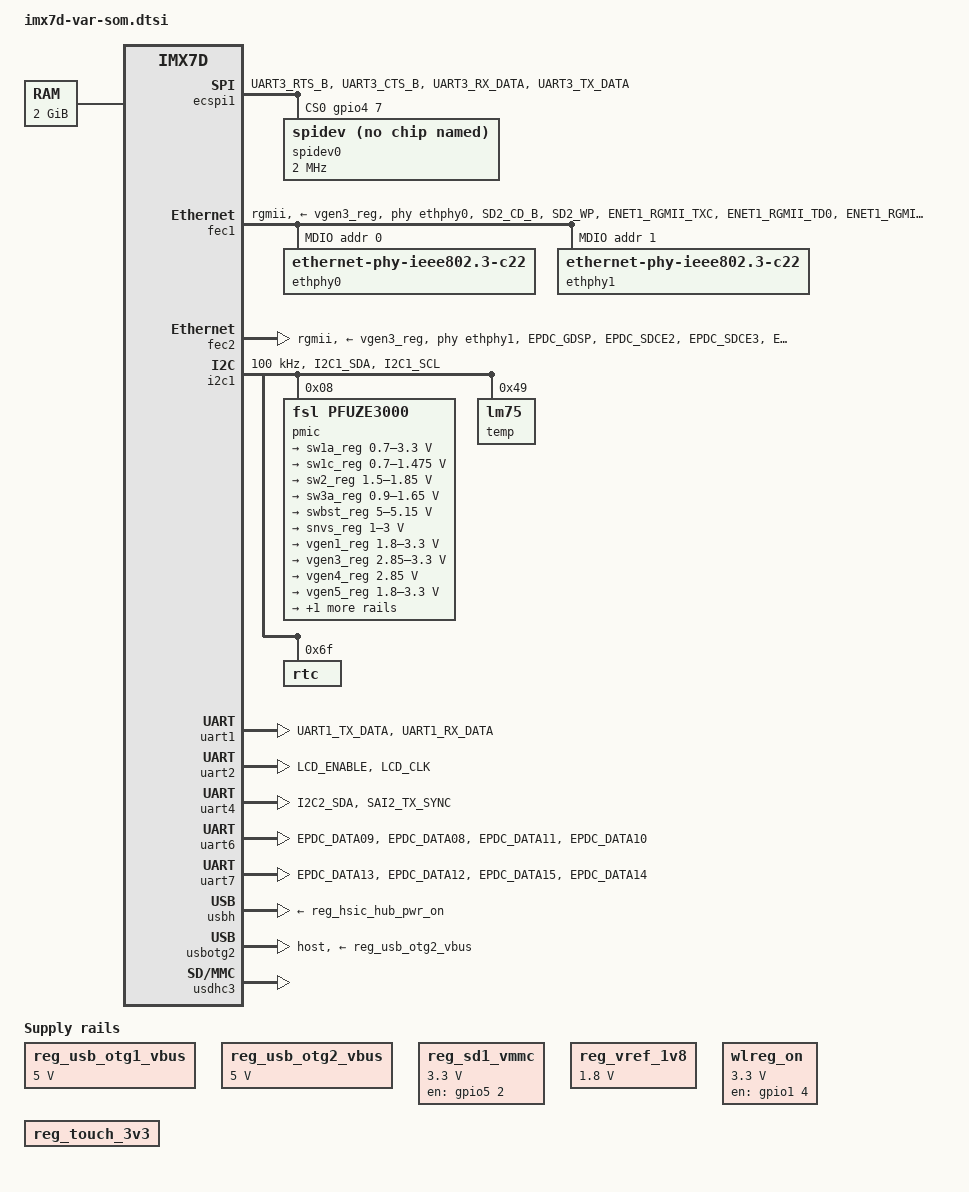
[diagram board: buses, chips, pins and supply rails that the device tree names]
// SPDX-License-Identifier: GPL-2.0+ OR MIT
//
// Copyright (C) 2016-2022 Variscite Ltd.

#include <dt-bindings/input/input.h>
#include "imx7d.dtsi"

/ {
	memory {
		reg = <0x80000000 0x80000000>;
	};

	backlight {
		compatible = "pwm-backlight";
		pwms = <&pwm2 0 5000000>;
		brightness-levels = <0 4 8 16 32 64 128 255>;
		default-brightness-level = <7>;
		status = "disabled";
	};

	pxp_v4l2_out {
		compatible = "fsl,imx7d-pxp-v4l2", "fsl,imx6sx-pxp-v4l2", "fsl,imx6sl-pxp-v4l2";
		status = "okay";
	};

	sound {
		status = "disabled";
	};

	gpio-keys {

		status = "disabled";
	};

	regulators {
		compatible = "simple-bus";
		#address-cells = <1>;
		#size-cells = <0>;

		reg_usb_otg1_vbus: regulator@0 {
			compatible = "regulator-fixed";
			reg = <0>;
			regulator-name = "usb_otg1_vbus";
			regulator-min-microvolt = <5000000>;
			regulator-max-microvolt = <5000000>;
			enable-active-high;
		};

		reg_usb_otg2_vbus: regulator@1 {
			compatible = "regulator-fixed";
			reg = <1>;
			regulator-name = "usb_otg2_vbus";
			regulator-min-microvolt = <5000000>;
			regulator-max-microvolt = <5000000>;
			enable-active-high;
			regulator-always-on;			
		};

		reg_sd1_vmmc: regulator@3 {
			compatible = "regulator-fixed";
			regulator-name = "VDD_SD1";
			regulator-min-microvolt = <3300000>;
			regulator-max-microvolt = <3300000>;
			gpio = <&gpio5 2 GPIO_ACTIVE_HIGH>;
			startup-delay-us = <200000>;
			enable-active-high;
		};

		reg_vref_1v8: regulator@5 {
			compatible = "regulator-fixed";
			reg = <5>;
			regulator-name = "vref-1v8";
			regulator-min-microvolt = <1800000>;
			regulator-max-microvolt = <1800000>;
		};

		wlreg_on: fixedregulator@100 {
			compatible = "regulator-fixed";
			regulator-min-microvolt = <3300000>;
			regulator-max-microvolt = <3300000>;
			regulator-name = "wlreg_on";
			gpio = <&gpio1 4 GPIO_ACTIVE_HIGH>;	/* WL_REG_ON: PAD_GPIO1_IO04__GPIO1_IO4*/
			startup-delay-us = <100>;
			enable-active-high;
		};

		reg_touch_3v3: reg_touch_3v3 {
			compatible = "regulator-fixed";
			regulator-name = "touch_3v3_supply";
			regulator-always-on;
			status = "okay";
		};

		reg_hsic_hub_pwr_on: reg_hsic_hub_pwr_on {
			status = "okay";
		};

		reg_hsic_hub_connect: reg_hsic_hub_connect {
			status = "disabled";
		};
	};
};

&adc1 {
	vref-supply = <&reg_vref_1v8>;
	status = "disabled";
};

&adc2 {
	vref-supply = <&reg_vref_1v8>;
	status = "disabled";
};

&cpu0 {
	arm-supply = <&sw1a_reg>;
};

&clks {
	assigned-clocks = <&clks IMX7D_PLL_AUDIO_POST_DIV>;
	assigned-clock-rates = <884736000>;
};

&csi1 {
	csi-mux-mipi = <&gpr 0x14 4>;
	status = "disabled";
};

&epxp {
	status = "disabled";
};

&ecspi1 {
	fsl,spi-num-chipselects = <1>;
	pinctrl-names = "default";
	pinctrl-0 = <&pinctrl_ecspi1>;
	cs-gpios = <&gpio4 7 0>;
	status = "okay";

	spidev0: spi@0 {
		compatible = "spidev";
		reg = <0>;
		spi-max-frequency = <2000000>;
	};
};

&fec1 {
	pinctrl-names = "default";
	pinctrl-0 = <&pinctrl_enet1>;
	phy-supply=<&vgen3_reg>;
	assigned-clocks = <&clks IMX7D_ENET1_TIME_ROOT_SRC>,
			  <&clks IMX7D_ENET1_TIME_ROOT_CLK>;
	assigned-clock-parents = <&clks IMX7D_PLL_ENET_MAIN_100M_CLK>;
	assigned-clock-rates = <0>, <100000000>;
	phy-mode = "rgmii";
	phy-handle = <&ethphy0>;
	fsl,magic-packet;
	status = "okay";

	mdio {
		#address-cells = <1>;
		#size-cells = <0>;

		ethphy0: ethernet-phy@0 {
			compatible = "ethernet-phy-ieee802.3-c22";
			reg = <0>;
		};

		ethphy1: ethernet-phy@1 {
			compatible = "ethernet-phy-ieee802.3-c22";
			reg = <1>;
		};
	};
};

&fec2 {
	pinctrl-names = "default";
	pinctrl-0 = <&pinctrl_enet2>;
	phy-supply=<&vgen3_reg>;
	assigned-clocks = <&clks IMX7D_ENET2_TIME_ROOT_SRC>,
			  <&clks IMX7D_ENET2_TIME_ROOT_CLK>;
	assigned-clock-parents = <&clks IMX7D_PLL_ENET_MAIN_100M_CLK>;
	assigned-clock-rates = <0>, <100000000>;
	phy-mode = "rgmii";
	phy-handle = <&ethphy1>;
	phy-reset-gpios = <&gpio4 3 GPIO_ACTIVE_LOW>;
	fsl,magic-packet;
	status = "okay";
};

&mipi_csi {

	status = "disabled";

};

&flexcan2 {

	status = "disabled";
};

&i2c1 {
	clock-frequency = <100000>;
	pinctrl-names = "default";
	pinctrl-0 = <&pinctrl_i2c1>;
	status = "okay";

	pmic: pfuze3000@08 {
		compatible = "fsl,pfuze3000";
		reg = <0x08>;

		regulators {
			sw1a_reg: sw1a {
				regulator-min-microvolt = <700000>;
				regulator-max-microvolt = <3300000>;
				regulator-boot-on;
				regulator-always-on;
				regulator-ramp-delay = <6250>;
			};

			/* use sw1c_reg to align with pfuze100/pfuze200 */
			sw1c_reg: sw1b {
				regulator-min-microvolt = <700000>;
				regulator-max-microvolt = <1475000>;
				regulator-boot-on;
				regulator-always-on;
				regulator-ramp-delay = <6250>;
			};

			sw2_reg: sw2 {
				regulator-min-microvolt = <1500000>;
				regulator-max-microvolt = <1850000>;
				regulator-boot-on;
				regulator-always-on;
			};

			sw3a_reg: sw3 {
				regulator-min-microvolt = <900000>;
				regulator-max-microvolt = <1650000>;
				regulator-boot-on;
				regulator-always-on;
			};

			swbst_reg: swbst {
				regulator-min-microvolt = <5000000>;
				regulator-max-microvolt = <5150000>;
			};

			snvs_reg: vsnvs {
				regulator-min-microvolt = <1000000>;
				regulator-max-microvolt = <3000000>;
				regulator-boot-on;
				regulator-always-on;
			};

			vref_reg: vrefddr {
				regulator-boot-on;
				regulator-always-on;
			};

			vgen1_reg: vldo1 {
				regulator-min-microvolt = <1800000>;
				regulator-max-microvolt = <3300000>;
				regulator-always-on;
			};

			vgen2_reg: vldo2 {
				status = "disabled";
			};

			vgen3_reg: vccsd {
				regulator-min-microvolt = <2850000>;
				regulator-max-microvolt = <3300000>;
				regulator-boot-on;

				regulator-state-mem {
					regulator-off-in-suspend;
				};
			};

			vgen4_reg: v33 {
				regulator-min-microvolt = <2850000>;
				regulator-max-microvolt = <2850000>;
				regulator-always-on;
			};

			vgen5_reg: vldo3 {
				regulator-min-microvolt = <1800000>;
				regulator-max-microvolt = <3300000>;
				regulator-always-on;
			};

			vgen6_reg: vldo4 {
				regulator-min-microvolt = <1800000>;
				regulator-max-microvolt = <3300000>;
				regulator-always-on;
			};
		};
	};

 	
	temp@49 {
        compatible = "lm75";
        reg = <0x49>;
        status = "okay";
    };
    
        rtc@6f {
        reg = <0x6f>;
        status = "okay";
    };
 /*  
    rtc@6f {
        compatible = "maxim,ds1338";
        reg = <0x6f>;
        status = "okay";
    };
*/


	/* DS1307 RTC module */
/*	rtc@0x6f {
		compatible = "dallas,ds1307";
		reg = <0x6f>;
	};
*/
};

&i2c2 {
	status = "disabled";

};

&i2c4 {

	status = "disabled";

};

&gpmi {
	status = "disabled";
};

&iomuxc {
	pinctrl-names = "default";
	pinctrl-0 = <&pinctrl_hog_1>;

	imx7d-sdb {
		pinctrl_hog_1: hoggrp-1 {
			fsl,pins = <
				MX7D_PAD_GPIO1_IO14__GPIO1_IO14		0x80000000  /* bt reg on */
				MX7D_PAD_SD2_RESET_B__GPIO5_IO11	0x59  /* ethphy0 reset */
				MX7D_PAD_UART2_TX_DATA__GPIO4_IO3	0x59  /* ethphy1 reset */
				MX7D_PAD_GPIO1_IO10__GPIO1_IO10		0x79  /* Dip 1 - input - MicroPAQ 940P */
				MX7D_PAD_GPIO1_IO11__GPIO1_IO11		0x79  /* Dip 2 - input - MicroPAQ 940P */				
				MX7D_PAD_GPIO1_IO12__GPIO1_IO12		0x79  /* Dip 3 - input - MicroPAQ 940P */	
				MX7D_PAD_GPIO1_IO13__GPIO1_IO13     0x59  /* WDOG  - output - MicroPAQ 940P */	
				MX7D_PAD_LCD_DATA20__GPIO3_IO25		0x59  /* STATUS 1 - input - MicroPAQ 940P */		
				MX7D_PAD_LCD_DATA21__GPIO3_IO26		0x59  /* STATUS 2 - input - MicroPAQ 940P */
				MX7D_PAD_LCD_DATA22__GPIO3_IO27		0x59  /* STATUS 3 - input - MicroPAQ 940P */
				MX7D_PAD_LCD_DATA23__GPIO3_IO28		0x59  /* STATUS 4 - input - MicroPAQ 940P */
				MX7D_PAD_I2C2_SCL__GPIO4_IO10		0x59  /* STATUS 5 - input - MicroPAQ 940P */
				MX7D_PAD_I2C3_SDA__GPIO4_IO13		0x59  /* STATUS 6 - input - MicroPAQ 940P */
				MX7D_PAD_I2C4_SDA__GPIO4_IO15		0x59  /* STATUS 7 - input - MicroPAQ 940P */
				MX7D_PAD_SAI1_RX_BCLK__GPIO6_IO17	0x59  /* STATUS 8 - input - MicroPAQ 940P */
				MX7D_PAD_EPDC_DATA00__GPIO2_IO0     0x59  /* 24V SENSE RELAY - Input - MicroPAQ 940P */
				MX7D_PAD_EPDC_DATA01__GPIO2_IO1     0x59  /* LOCAL/REMOTE - Input - MicroPAQ 940P */
				MX7D_PAD_EPDC_BDR0__GPIO2_IO28      0x59  /* RELAY SENSE1 - Input - MicroPAQ 940P */
				MX7D_PAD_EPDC_BDR1__GPIO2_IO29      0x59  /* RELAY SENSE2 - Input - MicroPAQ 940P */
				MX7D_PAD_EPDC_PWR_COM__GPIO2_IO30   0x59  /* RELAY SENSE3 - Input - MicroPAQ 940P */
				MX7D_PAD_EPDC_PWR_STAT__GPIO2_IO31  0x59  /* RELAY SENSE4 - Input - MicroPAQ 940P */
				MX7D_PAD_EPDC_DATA04__GPIO2_IO4     0x09  /* RELAY1 - Output - MicroPAQ 940P */
				MX7D_PAD_EPDC_DATA05__GPIO2_IO5     0x09  /* RELAY2 - Output - MicroPAQ 940P */
				MX7D_PAD_EPDC_DATA06__GPIO2_IO6     0x09  /* RELAY3 - Output - MicroPAQ 940P */
				MX7D_PAD_EPDC_DATA07__GPIO2_IO7     0x09  /* RELAY4 - Output - MicroPAQ 940P */
				MX7D_PAD_SD1_WP__GPIO5_IO1          0x59  /* RELAY_PWR - Output - MicroPAQ 940P */
				MX7D_PAD_SAI1_RX_SYNC__GPIO6_IO16   0x59  /* COMBO RS485_SEL - Output - MicroPAQ 940P */
				MX7D_PAD_EPDC_DATA03__GPIO2_IO3     0x59
/*				MX7D_PAD_EPDC_DATA11__GPIO2_IO11    0x59 */ /* RS485_CTS - Output - MicroPAQ 940P */  
/*				MX7D_PAD_EPDC_DATA15__GPIO2_IO15    0x59 */ /* COMBO RS485_CTS - Output - MicroPAQ 940P */ 
/*				MX7D_PAD_EPDC_DATA14__GPIO2_IO14    0x59 */ /* COMBO RS485_RTS - Output - MicroPAQ 940P */ 
			>;
		};
/*
		pinctrl_mipi_dsi_reset: mipi_dsi_reset_grp {
			fsl,pins = <
				MX7D_PAD_SAI1_TX_DATA__GPIO6_IO15	0x1b
			>;
		};
*/		

		
		/* ADC added by Jose
		*/
		pinctrl_ecspi1: ecspi1grp {
			fsl,pins = <
				MX7D_PAD_UART3_RTS_B__ECSPI1_SCLK			0x2
				MX7D_PAD_UART3_CTS_B__GPIO4_IO7				0x2
				MX7D_PAD_UART3_RX_DATA__ECSPI1_MISO			0x2
				MX7D_PAD_UART3_TX_DATA__ECSPI1_MOSI			0x2
			>;
		};

		pinctrl_enet1: enet1grp {
			fsl,pins = <
				MX7D_PAD_SD2_CD_B__ENET1_MDIO			0x3
				MX7D_PAD_SD2_WP__ENET1_MDC			0x3
				MX7D_PAD_ENET1_RGMII_TXC__ENET1_RGMII_TXC	0x1
				MX7D_PAD_ENET1_RGMII_TD0__ENET1_RGMII_TD0	0x1
				MX7D_PAD_ENET1_RGMII_TD1__ENET1_RGMII_TD1	0x1
				MX7D_PAD_ENET1_RGMII_TD2__ENET1_RGMII_TD2	0x1
				MX7D_PAD_ENET1_RGMII_TD3__ENET1_RGMII_TD3	0x1
				MX7D_PAD_ENET1_RGMII_TX_CTL__ENET1_RGMII_TX_CTL	0x1
				MX7D_PAD_ENET1_RGMII_RXC__ENET1_RGMII_RXC	0x1
				MX7D_PAD_ENET1_RGMII_RD0__ENET1_RGMII_RD0	0x1
				MX7D_PAD_ENET1_RGMII_RD1__ENET1_RGMII_RD1	0x1
				MX7D_PAD_ENET1_RGMII_RD2__ENET1_RGMII_RD2	0x1
				MX7D_PAD_ENET1_RGMII_RD3__ENET1_RGMII_RD3	0x1
				MX7D_PAD_ENET1_RGMII_RX_CTL__ENET1_RGMII_RX_CTL	0x1
			>;
		};

		pinctrl_enet2: enet2grp {
			fsl,pins = <
				MX7D_PAD_EPDC_GDSP__ENET2_RGMII_TXC		0x1
				MX7D_PAD_EPDC_SDCE2__ENET2_RGMII_TD0		0x1
				MX7D_PAD_EPDC_SDCE3__ENET2_RGMII_TD1		0x1
				MX7D_PAD_EPDC_GDCLK__ENET2_RGMII_TD2		0x1
				MX7D_PAD_EPDC_GDOE__ENET2_RGMII_TD3		0x1
				MX7D_PAD_EPDC_GDRL__ENET2_RGMII_TX_CTL		0x1
				MX7D_PAD_EPDC_SDCE1__ENET2_RGMII_RXC		0x1
				MX7D_PAD_EPDC_SDCLK__ENET2_RGMII_RD0		0x1
				MX7D_PAD_EPDC_SDLE__ENET2_RGMII_RD1		0x1
				MX7D_PAD_EPDC_SDOE__ENET2_RGMII_RD2		0x1
				MX7D_PAD_EPDC_SDSHR__ENET2_RGMII_RD3		0x1
				MX7D_PAD_EPDC_SDCE0__ENET2_RGMII_RX_CTL		0x1
			>;
		};

		pinctrl_i2c1: i2c1grp {
			fsl,pins = <
				MX7D_PAD_I2C1_SDA__I2C1_SDA	0x4000007f
				MX7D_PAD_I2C1_SCL__I2C1_SCL	0x4000007f
				
			>;
		};

		pinctrl_lcdif_dat: lcdifdatgrp {
			fsl,pins = <
				MX7D_PAD_LCD_DATA00__GPIO3_IO5		0x79
				MX7D_PAD_LCD_DATA02__LCD_DATA2		0x79
				MX7D_PAD_LCD_DATA18__LCD_DATA18		0x79
				MX7D_PAD_LCD_DATA19__LCD_DATA19		0x79
			>;
		};

		pinctrl_lcdif_ctrl: lcdifctrlgrp {
			fsl,pins = <
				MX7D_PAD_EPDC_DATA02__LCD_VSYNC		0x79
			>;
		};

		pinctrl_tsc2046_pendown: tsc2046_pendown {
			fsl,pins = <
				MX7D_PAD_GPIO1_IO09__GPIO1_IO9		0x59
			>;
		};

/* MAINT PORT-1 */
		pinctrl_uart1: uart1grp {
			fsl,pins = <
				MX7D_PAD_UART1_TX_DATA__UART1_DCE_TX	0x79
				MX7D_PAD_UART1_RX_DATA__UART1_DCE_RX	0x79
			>;
		};
		
/* EXP Port-4 */
		pinctrl_uart2: uart2grp {
			fsl,pins = <
				MX7D_PAD_LCD_ENABLE__UART2_DCE_TX	0x79
				MX7D_PAD_LCD_CLK__UART2_DCE_RX		0x79
			>;
		};

/* SPARE SERIAL PORT1 - SP-1 */
		
		pinctrl_uart4: uart4grp {
			fsl,pins = <
				MX7D_PAD_I2C2_SDA__UART4_DCE_TX			0x79
				MX7D_PAD_SAI2_TX_SYNC__UART4_DCE_RX		0x79
			>;
		};
		
/* SPARE SERIAL PORT2- SP-2 */
		pinctrl_uart5: uart5grp {
			fsl,pins = <
				MX7D_PAD_I2C4_SCL__UART5_DCE_RX			0x79
			>;
		};

/* RS-485 PORT */		
		pinctrl_uart6: uart6grp {
			fsl,pins = <
				MX7D_PAD_EPDC_DATA09__UART6_DCE_TX		0x79
				MX7D_PAD_EPDC_DATA08__UART6_DCE_RX		0x79
				MX7D_PAD_EPDC_DATA11__UART6_DCE_CTS     0x79 
				MX7D_PAD_EPDC_DATA10__UART6_DCE_RTS     0x79 
			>;
		};	
		
/* COMBO - 485/232 PORT */					
		
		pinctrl_uart7: uart7grp {
			fsl,pins = <
				MX7D_PAD_EPDC_DATA13__UART7_DCE_TX		0x79
				MX7D_PAD_EPDC_DATA12__UART7_DCE_RX		0x79
				MX7D_PAD_EPDC_DATA15__UART7_DCE_CTS		0x79 
				MX7D_PAD_EPDC_DATA14__UART7_DCE_RTS		0x79
				 
			>;
		};	
		
		
		pinctrl_usdhc1_gpio: usdhc1_gpiogrp {
			fsl,pins = <
				MX7D_PAD_SD1_CD_B__GPIO5_IO0		0x59 /* CD */
				MX7D_PAD_SD1_RESET_B__GPIO5_IO2		0x59 /* vmmc */
				MX7D_PAD_GPIO1_IO08__SD1_VSELECT	0x59 /* VSELECT */
			>;
		};

		pinctrl_usdhc1: usdhc1grp {
			fsl,pins = <
				MX7D_PAD_SD1_CMD__SD1_CMD		0x59
				MX7D_PAD_SD1_CLK__SD1_CLK		0x19
				MX7D_PAD_SD1_DATA0__SD1_DATA0		0x59
				MX7D_PAD_SD1_DATA1__SD1_DATA1		0x59
				MX7D_PAD_SD1_DATA2__SD1_DATA2		0x59
				MX7D_PAD_SD1_DATA3__SD1_DATA3		0x59
			>;
		};

		pinctrl_usdhc1_100mhz: usdhc1grp_100mhz {
			fsl,pins = <
				MX7D_PAD_SD1_CMD__SD1_CMD		0x5a
				MX7D_PAD_SD1_CLK__SD1_CLK		0x1a
				MX7D_PAD_SD1_DATA0__SD1_DATA0		0x5a
				MX7D_PAD_SD1_DATA1__SD1_DATA1		0x5a
				MX7D_PAD_SD1_DATA2__SD1_DATA2		0x5a
				MX7D_PAD_SD1_DATA3__SD1_DATA3		0x5a
			>;
		};

		pinctrl_usdhc1_200mhz: usdhc1grp_200mhz {
			fsl,pins = <
				MX7D_PAD_SD1_CMD__SD1_CMD		0x5b
				MX7D_PAD_SD1_CLK__SD1_CLK		0x1b
				MX7D_PAD_SD1_DATA0__SD1_DATA0		0x5b
				MX7D_PAD_SD1_DATA1__SD1_DATA1		0x5b
				MX7D_PAD_SD1_DATA2__SD1_DATA2		0x5b
				MX7D_PAD_SD1_DATA3__SD1_DATA3		0x5b
			>;
		};

		pinctrl_usdhc2_sleep: usdhc2grp_sleep {
			fsl,pins = <
				MX7D_PAD_SD2_CMD__GPIO5_IO13		0x14
				MX7D_PAD_SD2_CLK__GPIO5_IO12		0x14
				MX7D_PAD_SD2_DATA0__GPIO5_IO14		0x14
				MX7D_PAD_SD2_DATA1__GPIO5_IO15		0x14
				MX7D_PAD_SD2_DATA2__GPIO5_IO16		0x14
				MX7D_PAD_SD2_DATA3__GPIO5_IO17		0x14
			>;
		};

		pinctrl_usdhc2: usdhc2grp {
			fsl,pins = <
				MX7D_PAD_SD2_CMD__SD2_CMD	0x59
				MX7D_PAD_SD2_CLK__SD2_CLK	0x19
				MX7D_PAD_SD2_DATA0__SD2_DATA0	0x59
				MX7D_PAD_SD2_DATA1__SD2_DATA1	0x59
				MX7D_PAD_SD2_DATA2__SD2_DATA2	0x59
				MX7D_PAD_SD2_DATA3__SD2_DATA3	0x59
			>;
		};

		pinctrl_usdhc2_100mhz: usdhc2grp_100mhz {
			fsl,pins = <
				MX7D_PAD_SD2_CMD__SD2_CMD	0x5a
				MX7D_PAD_SD2_CLK__SD2_CLK	0x1a
				MX7D_PAD_SD2_DATA0__SD2_DATA0	0x5a
				MX7D_PAD_SD2_DATA1__SD2_DATA1	0x5a
				MX7D_PAD_SD2_DATA2__SD2_DATA2	0x5a
				MX7D_PAD_SD2_DATA3__SD2_DATA3	0x5a
			>;
		};

		pinctrl_usdhc2_200mhz: usdhc2grp_200mhz {
			fsl,pins = <
				MX7D_PAD_SD2_CMD__SD2_CMD	0x5b
				MX7D_PAD_SD2_CLK__SD2_CLK	0x1b
				MX7D_PAD_SD2_DATA0__SD2_DATA0	0x5b
				MX7D_PAD_SD2_DATA1__SD2_DATA1	0x5b
				MX7D_PAD_SD2_DATA2__SD2_DATA2	0x5b
				MX7D_PAD_SD2_DATA3__SD2_DATA3	0x5b
			>;
		};
	};
};

&lcdif {
	pinctrl-names = "default";
	pinctrl-0 = <&pinctrl_lcdif_dat
		     &pinctrl_lcdif_ctrl>;
	display = <&display0>;
	status = "disabled";

	display0: display0 {
		bits-per-pixel = <32>;
		bus-width = <24>;

		display-timings {
			native-mode = <&timing0>;
			timing0: timing0 {
				clock-frequency = <29232000>;
				hactive = <800>;
				vactive = <480>;
				hfront-porch = <40>;
				hback-porch = <40>;
				hsync-len = <48>;
				vback-porch = <29>;
				vfront-porch = <13>;
				vsync-len = <3>;
				hsync-active = <0>;
				vsync-active = <0>;
				de-active = <1>;
				pixelclk-active = <0>;
			};
		};
	};
};

&pcie {
	status = "disabled";
};

&sai1 {
	status = "disabled";
};

&sai2 {

	status = "disabled";
};

&sdma {
	status = "okay";
};

&pwm2 {
	status = "disabled";
};

&iomuxc_lpsr {
	pinctrl-names = "default";
	pinctrl-0 = <&pinctrl_hog_2 &pinctrl_usbotg2_pwr_2>;

	imx7d-sdb {
		pinctrl_hog_2: hoggrp-2 {
			fsl,pins = <
				MX7D_PAD_GPIO1_IO00__GPIO1_IO0		0x59 /* Heartbeat LED - Output - MicroPAQ 940P  */
				MX7D_PAD_GPIO1_IO02__GPIO1_IO2      0x59 /* RELAY_ON - Output - MicroPAQ 940P */
				MX7D_PAD_GPIO1_IO05__GPIO1_IO5		0x59 /* HMI Power On - Output - MicroPAQ 940P */
			>;
		};
		pinctrl_usbotg2_pwr_2: usbotg2-2 {
			fsl,pins = <
				MX7D_PAD_GPIO1_IO07__GPIO1_IO7		0x14
			>;
		};

		pinctrl_sai1_mclk: sai1grp_mclk {
			fsl,pins = <
				MX7D_PAD_GPIO1_IO01__SAI1_MCLK		0x1f
			>;
		};
/*
		pinctrl_wlan: wlangrp {
			fsl,pins = <
				MX7D_PAD_GPIO1_IO04__GPIO1_IO4		0x59 WL_REG_ON 
				MX7D_PAD_GPIO1_IO03__OSC32K_32K_OUT	0xb0 WIFI Slow clock
			>;
		};

		pinctrl_wlan_sleep: wlangrp_sleep {
			fsl,pins = <
				MX7D_PAD_GPIO1_IO04__GPIO1_IO4		0x14 
				MX7D_PAD_GPIO1_IO03__OSC32K_32K_OUT	0x14 
			>;
		};
*/		
	};
};

&uart1 {
	pinctrl-names = "default";
	pinctrl-0 = <&pinctrl_uart1>;
	assigned-clocks = <&clks IMX7D_UART1_ROOT_SRC>;
	assigned-clock-parents = <&clks IMX7D_OSC_24M_CLK>;
	status = "okay";
};

&uart2 {

	pinctrl-names = "default";
	pinctrl-0 = <&pinctrl_uart2>;
	assigned-clocks = <&clks IMX7D_UART2_ROOT_SRC>;
	assigned-clock-parents = <&clks IMX7D_OSC_24M_CLK>;
	status = "okay";
};

&uart3 {

	status = "disabled";
};

&uart4 {
	pinctrl-names = "default";
	pinctrl-0 = <&pinctrl_uart4>;
	assigned-clocks = <&clks IMX7D_UART4_ROOT_SRC>;
	assigned-clock-parents = <&clks IMX7D_OSC_24M_CLK>;
	status = "okay";
};

&uart5 {
	pinctrl-names = "default";
	pinctrl-0 = <&pinctrl_uart5>;
	assigned-clocks = <&clks IMX7D_UART5_ROOT_SRC>;
	assigned-clock-parents = <&clks IMX7D_OSC_24M_CLK>;
	status = "disabled";
};

&uart6 {
	pinctrl-names = "default";
	pinctrl-0 = <&pinctrl_uart6>;
	assigned-clocks = <&clks IMX7D_UART6_ROOT_SRC>;
	assigned-clock-parents = <&clks IMX7D_OSC_24M_CLK>;
	fsl,uart-has-rtscts;
	status = "okay";
};

&uart7 {
	pinctrl-names = "default";
	pinctrl-0 = <&pinctrl_uart7>;
	assigned-clocks = <&clks IMX7D_UART7_ROOT_SRC>;
	assigned-clock-parents = <&clks IMX7D_OSC_24M_CLK>;
	fsl,uart-has-rtscts;
	status = "okay";
};



&usbh {
	status = "okay";
	vbus-supply = <&reg_hsic_hub_pwr_on>;
};

&usbotg1 {
	vbus-supply = <&reg_usb_otg1_vbus>;
	dr_mode = "host";
	status = "disabled";
};

&usbotg2 {
	vbus-supply = <&reg_usb_otg2_vbus>;
	dr_mode = "host";
	status = "okay";
};

&usdhc1 {
	status = "disabled";
};

&usdhc2 {
	status = "disabled"; 
};

&usdhc3 {

	status = "okay";	

};

&wdog1 {
	status = "disabled";
};

&snvs_rtc {
       status = "disabled";
};

